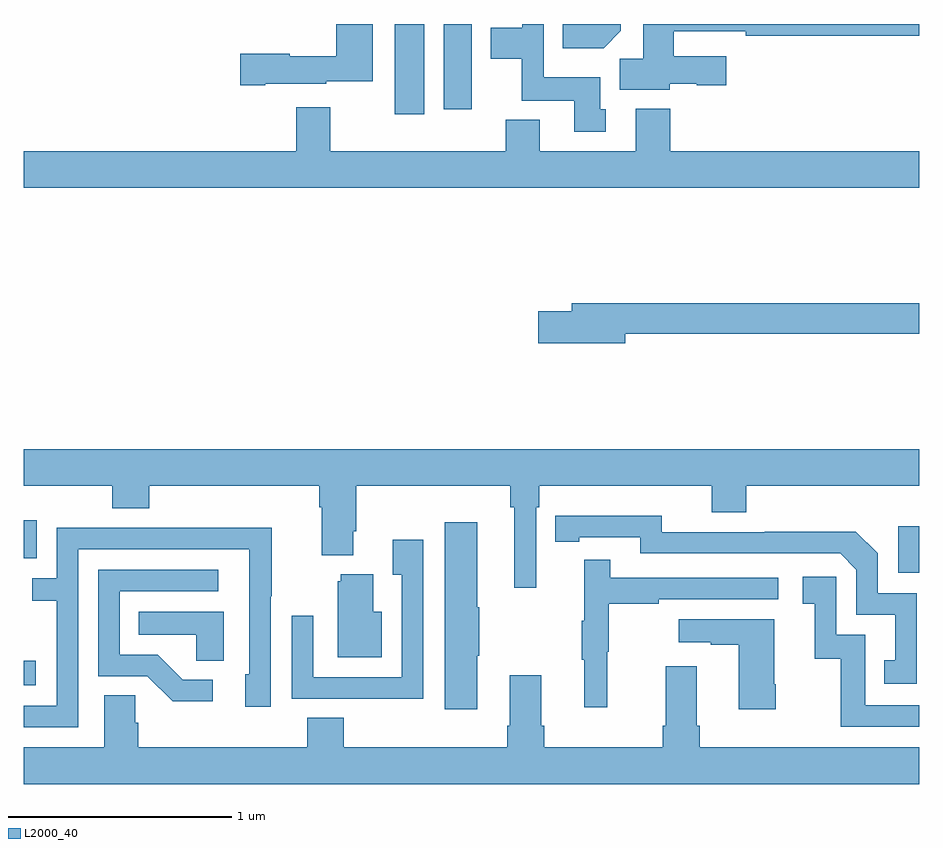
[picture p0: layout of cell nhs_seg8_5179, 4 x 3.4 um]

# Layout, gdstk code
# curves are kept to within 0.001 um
import gdstk
lib = gdstk.Library(unit=1e-6, precision=1e-09)
def R(c, l, rs):  # rectangles x0, y0, x1, y1
    for r in rs: c.add(gdstk.rectangle(r[:2], r[2:], *l))
def P(c, l, *ps):  # polygons
    for p in ps: c.add(gdstk.Polygon(p, *l))
L2000_40 = (2000, 40)

nhs_seg8_5179 = lib.new_cell('nhs_seg8_5179')
R(nhs_seg8_5179, L2000_40, [(423,1112.945,423.052,1113.055), (426.906,1113.447,427,1113.655), (423,1113.513,423.057,1113.682), (424.658,1115.496,424.789,1115.9), (424.877,1115.52,425.002,1115.9)])
P(nhs_seg8_5179, L2000_40, [(424.078,1115.633),(424.35,1115.633),(424.35,1115.645),(424.558,1115.645),(424.558,1115.9),(424.396,1115.9),(424.396,1115.755),(424.188,1115.755),(424.188,1115.768),(423.966,1115.768),(423.966,1115.626),(424.078,1115.626)],
  [(425.599,1115.52),(425.575,1115.52),(425.575,1115.662),(425.322,1115.662),(425.322,1115.9),(425.226,1115.9),(425.226,1115.884),(425.087,1115.884),(425.087,1115.744),(425.224,1115.744),(425.224,1115.558),(425.459,1115.558),(425.459,1115.418),(425.599,1115.418)],
  [(425.886,1115.633),(426.006,1115.633),(426.006,1115.626),(426.139,1115.626),(426.139,1115.755),(425.903,1115.755),(425.903,1115.868),(426.226,1115.868),(426.226,1115.848),(427,1115.848),(427,1115.9),(425.768,1115.9),(425.768,1115.744),(425.663,1115.744),(425.663,1115.606),(425.886,1115.606)],
  [(425.668,1115.87),(425.668,1115.9),(425.407,1115.9),(425.407,1115.792),(425.59,1115.792)],
  [(427,1115.332),(425.888,1115.332),(425.888,1115.521),(425.735,1115.521),(425.735,1115.332),(425.305,1115.332),(425.305,1115.473),(425.153,1115.473),(425.153,1115.332),(424.369,1115.332),(424.369,1115.527),(424.217,1115.527),(424.217,1115.332),(423,1115.332),(423,1115.168),(427,1115.168)],
  [(425.686,1114.516),(427,1114.516),(427,1114.652),(425.447,1114.652),(425.447,1114.616),(425.298,1114.616),(425.298,1114.474),(425.686,1114.474)],
  [(423,1113.836),(423.395,1113.836),(423.395,1113.737),(423.56,1113.737),(423.56,1113.836),(424.319,1113.836),(424.319,1113.74),(424.331,1113.74),(424.331,1113.527),(424.471,1113.527),(424.471,1113.634),(424.484,1113.634),(424.484,1113.836),(425.173,1113.836),(425.173,1113.74),(425.192,1113.74),(425.192,1113.381),(425.289,1113.381),(425.289,1113.74),(425.303,1113.74),(425.303,1113.836),(426.074,1113.836),(426.074,1113.719),(426.227,1113.719),(426.227,1113.836),(427,1113.836),(427,1114),(423,1114)],
  [(426.99,1113.357),(426.816,1113.357),(426.816,1113.534),(426.718,1113.632),(426.31,1113.632),(426.31,1113.63),(425.85,1113.63),(425.85,1113.703),(425.374,1113.702),(425.374,1113.586),(425.482,1113.586),(425.482,1113.606),(425.754,1113.606),(425.754,1113.534),(426.648,1113.534),(426.72,1113.462),(426.72,1113.261),(426.893,1113.261),(426.893,1113.057),(426.844,1113.057),(426.844,1112.952),(426.99,1112.952)],
  [(425.026,1113.076),(425.034,1113.076),(425.034,1113.293),(425.026,1113.293),(425.026,1113.673),(424.88,1113.673),(424.88,1112.838),(425.026,1112.838)],
  [(423.243,1113.552),(424.008,1113.552),(424.008,1112.994),(423.989,1112.994),(423.989,1112.85),(424.104,1112.85),(424.104,1113.343),(424.107,1113.343),(424.107,1113.65),(423.643,1113.65),(423.643,1113.648),(423.147,1113.648),(423.147,1113.423),(423.037,1113.423),(423.037,1113.322),(423.147,1113.322),(423.147,1112.853),(423,1112.853),(423,1112.757),(423.243,1112.757)],
  [(424.785,1113.595),(424.649,1113.595),(424.649,1113.439),(424.689,1113.439),(424.689,1112.982),(424.293,1112.982),(424.293,1113.256),(424.197,1113.256),(424.197,1112.886),(424.513,1112.886),(424.513,1112.885),(424.785,1112.885)],
  [(425.606,1113.096),(425.614,1113.096),(425.614,1113.31),(425.837,1113.31),(425.837,1113.33),(426.37,1113.33),(426.37,1113.426),(425.621,1113.426),(425.621,1113.505),(425.504,1113.505),(425.504,1113.233),(425.493,1113.233),(425.493,1113.059),(425.504,1113.059),(425.504,1112.847),(425.606,1112.847)],
  [(423.844,1112.97),(423.709,1112.97),(423.598,1113.081),(423.429,1113.081),(423.429,1113.366),(423.868,1113.366),(423.868,1113.462),(423.333,1113.462),(423.333,1112.985),(423.552,1112.985),(423.665,1112.873),(423.844,1112.873)],
  [(424.6,1113.274),(424.561,1113.274),(424.561,1113.442),(424.415,1113.442),(424.415,1113.411),(424.403,1113.411),(424.403,1113.071),(424.6,1113.071)],
  [(427,1112.856),(426.759,1112.856),(426.759,1113.171),(426.63,1113.171),(426.63,1113.43),(426.48,1113.43),(426.48,1113.309),(426.533,1113.309),(426.533,1113.063),(426.651,1113.063),(426.651,1112.76),(427,1112.76)],
  [(423.892,1113.274),(423.514,1113.274),(423.514,1113.17),(423.771,1113.17),(423.771,1113.055),(423.892,1113.055)],
  [(426.36,1112.95),(426.352,1112.95),(426.352,1113.241),(425.925,1113.241),(425.925,1113.137),(426.068,1113.137),(426.068,1113.127),(426.194,1113.127),(426.194,1112.838),(426.36,1112.838)],
  [(427,1112.668),(426.02,1112.668),(426.02,1112.764),(426.007,1112.764),(426.007,1113.031),(425.867,1113.031),(425.867,1112.764),(425.855,1112.764),(425.855,1112.668),(425.324,1112.668),(425.324,1112.764),(425.311,1112.764),(425.311,1112.989),(425.171,1112.989),(425.171,1112.764),(425.159,1112.764),(425.159,1112.668),(424.43,1112.668),(424.43,1112.801),(424.265,1112.801),(424.265,1112.668),(423.512,1112.668),(423.512,1112.777),(423.498,1112.777),(423.498,1112.9),(423.359,1112.9),(423.359,1112.668),(423,1112.668),(423,1112.504),(427,1112.504)])

lib.write_gds('nhs_seg8_5179.gds')
